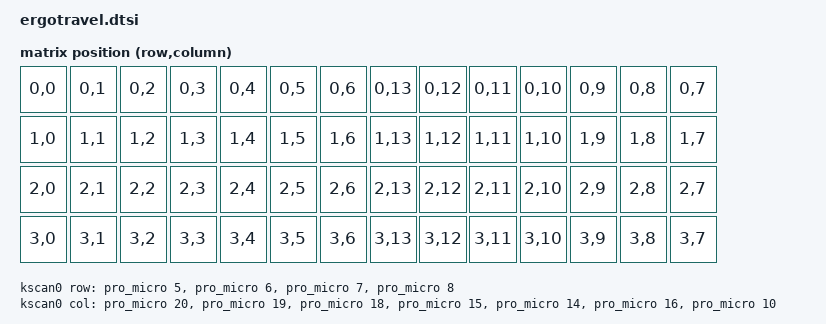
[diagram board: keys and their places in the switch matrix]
#include <dt-bindings/zmk/matrix_transform.h>
#include "ergotravel-layouts.dtsi"


/ {
    kscan0: kscan0 {
        compatible = "zmk,kscan-gpio-matrix";
        diode-direction = "col2row";
        wakeup-source;

        row-gpios
            = <&pro_micro 5 (GPIO_ACTIVE_HIGH | GPIO_PULL_DOWN)>
            , <&pro_micro 6 (GPIO_ACTIVE_HIGH | GPIO_PULL_DOWN)>
            , <&pro_micro 7 (GPIO_ACTIVE_HIGH | GPIO_PULL_DOWN)>
            , <&pro_micro 8 (GPIO_ACTIVE_HIGH | GPIO_PULL_DOWN)>
            ;

        col-gpios
            = <&pro_micro 20 GPIO_ACTIVE_HIGH>
            , <&pro_micro 19 GPIO_ACTIVE_HIGH>
            , <&pro_micro 18 GPIO_ACTIVE_HIGH>
            , <&pro_micro 15 GPIO_ACTIVE_HIGH>
            , <&pro_micro 14 GPIO_ACTIVE_HIGH>
            , <&pro_micro 16 GPIO_ACTIVE_HIGH>
            , <&pro_micro 10 GPIO_ACTIVE_HIGH>
            ;
    };
};

/ {
    matrix_transform0: matrix_transform0 {
        compatible = "zmk,matrix-transform";
        columns = <14>;
        rows = <4>;
        map = <
        //  Tab     | Q      | W      | F      | P      | G      | -          =       | J      | L      | U      | Y      | ;:     | Bspc
        //  Caps    | A      | R      | S      | T      | D      | [          ]       | H      | N      | E      | I      | O      | '"
        //  LShift  | Z      | X      | C      | V      | B      | PTT        Mute    | K      | M      | ,      | .      | /      | RShift
        //  LCtrl   | LGui   | LAlt   | Adjust | Lower  | SpaceL | XtraL      XtraR   | SpaceR | Raise  | Fun    | RAlt   | RGui   | RCtrl
            RC(0,0)  RC(0,1)  RC(0,2)  RC(0,3)  RC(0,4)  RC(0,5)  RC(0,6)     RC(0,13) RC(0,12) RC(0,11) RC(0,10) RC(0,9)  RC(0,8)  RC(0,7)
            RC(1,0)  RC(1,1)  RC(1,2)  RC(1,3)  RC(1,4)  RC(1,5)  RC(1,6)     RC(1,13) RC(1,12) RC(1,11) RC(1,10) RC(1,9)  RC(1,8)  RC(1,7)
            RC(2,0)  RC(2,1)  RC(2,2)  RC(2,3)  RC(2,4)  RC(2,5)  RC(2,6)     RC(2,13) RC(2,12) RC(2,11) RC(2,10) RC(2,9)  RC(2,8)  RC(2,7)
            RC(3,0)  RC(3,1)  RC(3,2)  RC(3,3)  RC(3,4)  RC(3,5)  RC(3,6)     RC(3,13) RC(3,12) RC(3,11) RC(3,10) RC(3,9)  RC(3,8)  RC(3,7)
        >;
    };
};

/ {
    chosen {
        //zmk,physical-layout = &layout;
        zmk,kscan = &kscan0;
        zmk,matrix-transform = &matrix_transform0;
    };
};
